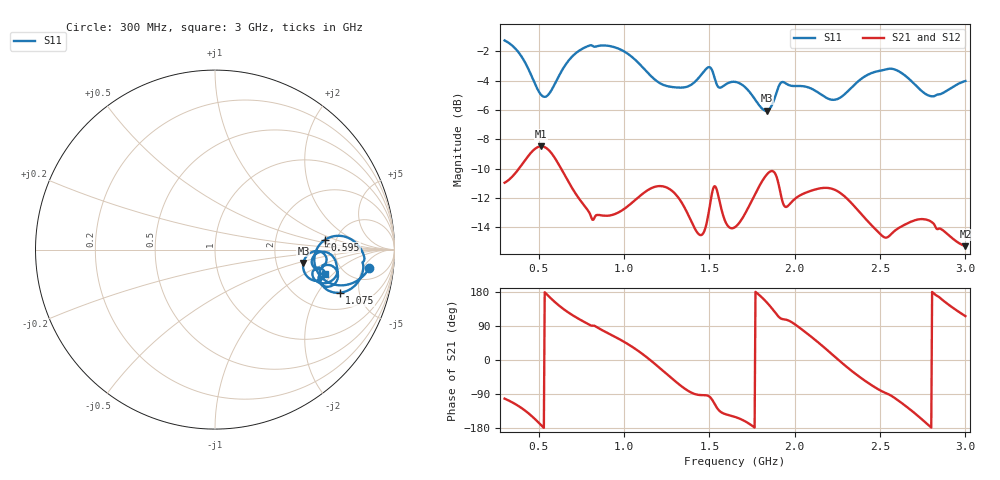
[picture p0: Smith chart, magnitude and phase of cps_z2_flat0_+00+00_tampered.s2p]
! cps_z2_flat0_+00+00_tampered
! simulated by sim/fixtures_fdtd.py (S12 = S21, S22 not computed)
# HZ S RI R 50
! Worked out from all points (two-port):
!   541 points, 300 MHz to 3 GHz, reference 50 ohm
!   highest |S21| = -8.48 dB at 515 MHz (marker M1); lowest = -15.3 dB at 3 GHz (marker M2)
!   |S21| within 3 dB of the highest: start of sweep to 703.4 MHz; 1.138 GHz to 1.276 GHz (137.7 MHz wide, 11.4 % of centre) (the widest 2 of 5)
!   lowest |S11| = -6.1 dB at 1.835 GHz (marker M3), VSWR 2.98, Z = 143 - j28.3 ohm
!   |S11| at or under -10 dB: nowhere
!   |S22| runs from - to - dB; largest |S21 - S12| = 0
!   S11 on the Smith chart (normalised r, x): 300 MHz: 8, -7; 595 MHz: 4.08, +0.73; 1.075 GHz: 3.04, -3.18; 3 GHz: 3.60, -1.64
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3e8  0.8598 -0.1032  -0.0583 -0.2767  -0.0583 -0.2767  0 0
4.25e8  0.6911 -0.199  -0.2421 -0.2396  -0.2421 -0.2396  0 0
5.15e8  0.5568 -0.0878  -0.3732 -0.0508  -0.3732 -0.0508  0 0
5.95e8  0.6139 0.0552  -0.3051 0.1568  -0.3051 0.1568  0 0
7.5e8  0.8077 0.0107  -0.061 0.2356  -0.061 0.2356  0 0
9.15e8  0.8159 -0.1463  0.0793 0.2035  0.0793 0.2035  0 0
1.075e9  0.6941 -0.2405  0.2234 0.1113  0.2234 0.1113  0 0
1.2e9  0.5938 -0.1917  0.2624 -0.0833  0.2624 -0.0833  0 0
1.315e9  0.5838 -0.1292  0.1201 -0.2225  0.1201 -0.2225  0 0
1.45e9  0.6525 -0.0911  -0.00849 -0.1871  -0.00849 -0.1871  0 0
1.52e9  0.6437 -0.2048  -0.081 -0.2552  -0.081 -0.2552  0 0
1.555e9  0.5762 -0.1624  -0.1696 -0.1853  -0.1696 -0.1853  0 0
1.65e9  0.6061 -0.1534  -0.1729 -0.0992  -0.1729 -0.0992  0 0
1.75e9  0.5373 -0.1674  -0.245 -0.0285  -0.245 -0.0285  0 0
1.835e9  0.4925 -0.0746  -0.2672 0.1385  -0.2672 0.1385  0 0
1.925e9  0.6218 -0.0535  -0.078 0.2352  -0.078 0.2352  0 0
2.1e9  0.5817 -0.1093  0.1322 0.2309  0.1322 0.2309  0 0
2.26e9  0.5482 -0.0384  0.2625 -0.00548  0.2625 -0.00548  0 0
2.385e9  0.6367 -0.0217  0.1538 -0.1611  0.1538 -0.1611  0 0
2.55e9  0.6825 -0.1186  -0.00173 -0.1852  -0.00173 -0.1852  0 0
2.78e9  0.5439 -0.1457  -0.2077 -0.0356  -0.2077 -0.0356  0 0
3e9  0.6143 -0.1372  -0.0745 0.1547  -0.0745 0.1547  0 0
